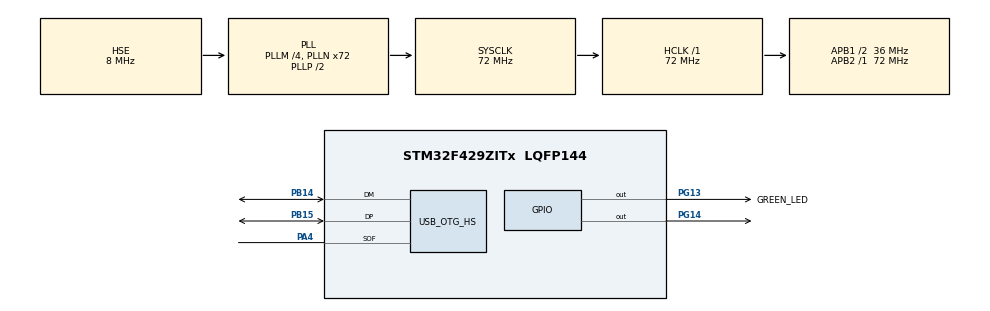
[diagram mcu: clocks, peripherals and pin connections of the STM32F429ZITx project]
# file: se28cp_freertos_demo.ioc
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FREERTOS.Tasks01=defaultTask,24,128,StartDefaultTask,Default,NULL,Dynamic,NULL,NULL
FREERTOS.configENABLE_FPU=1
FREERTOS.configMAX_TASK_NAME_LEN=32
FREERTOS.configTOTAL_HEAP_SIZE=32768
FREERTOS.configUSE_NEWLIB_REENTRANT=1
Mcu.Family=STM32F4
Mcu.Name=STM32F429ZITx
Mcu.Package=LQFP144
NVIC.OTG_HS_IRQn=true\:5\:0\:false\:false\:true\:true\:false\:true\:true
NVIC.PriorityGroup=NVIC_PRIORITYGROUP_4
PA13.Mode=Serial_Wire
PA13.Signal=SYS_JTMS-SWDIO
PA14.Mode=Serial_Wire
PA14.Signal=SYS_JTCK-SWCLK
PA4.Mode=Activate_SOF_FS
PA4.Signal=USB_OTG_HS_SOF
PB14.Mode=Device_Only_FS
PB14.Signal=USB_OTG_HS_DM
PB15.Mode=Device_Only_FS
PB15.Signal=USB_OTG_HS_DP
PG13.GPIO_Label=GREEN_LED
PG13.Signal=GPIO_Output
PG14.Signal=GPIO_Output
PH0/OSC_IN.Mode=HSE-External-Oscillator
PH0/OSC_IN.Signal=RCC_OSC_IN
PH1/OSC_OUT.Mode=HSE-External-Oscillator
PH1/OSC_OUT.Signal=RCC_OSC_OUT
ProjectManager.HeapSize=0x200
ProjectManager.StackSize=0x400
ProjectManager.TargetToolchain=STM32CubeIDE
RCC.48MHZClocksFreq_Value=48000000
RCC.AHBFreq_Value=72000000
RCC.APB1CLKDivider=RCC_HCLK_DIV2
RCC.APB1Freq_Value=36000000
RCC.APB1TimFreq_Value=72000000
RCC.APB2Freq_Value=72000000
RCC.APB2TimFreq_Value=72000000
RCC.CortexFreq_Value=72000000
RCC.HCLKFreq_Value=72000000
RCC.HSE_VALUE=8000000
RCC.HSI_VALUE=16000000
RCC.LSE_VALUE=32768
RCC.PLLM=4
RCC.PLLN=72
RCC.PLLQ=3
RCC.SYSCLKFreq_VALUE=72000000
RCC.SYSCLKSource=RCC_SYSCLKSOURCE_PLLCLK
RCC.VCOOutputFreq_Value=144000000
USB_DEVICE.CLASS_NAME_HS=CDC
USB_DEVICE.VirtualMode-CDC_HS=Cdc
USB_DEVICE.VirtualModeHS=Cdc_HS
USB_OTG_HS.VirtualMode-Device_Only_FS=Device_Only_FS
VP_FREERTOS_VS_CMSIS_V2.Mode=CMSIS_V2
VP_USB_DEVICE_VS_USB_DEVICE_CDC_HS.Mode=CDC_HS
board=custom

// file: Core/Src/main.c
/* USER CODE BEGIN Header */
/**
  ******************************************************************************
  * @file           : main.c
  * @brief          : Main program body
  ******************************************************************************
  * @attention
  *
  * Copyright (c) 2022 STMicroelectronics.
  * All rights reserved.
  *
  * This software is licensed under terms that can be found in the LICENSE file
  * in the root directory of this software component.
  * If no LICENSE file comes with this software, it is provided AS-IS.
  *
  ******************************************************************************
  */
/* USER CODE END Header */
#include "main.h"
#include "cmsis_os.h"
#include "usb_device.h"

/* USER CODE BEGIN Includes */
#include "FreeRTOS.h"
#include "FreeRTOS_CLI.h"
#include "usbd_cdc_if.h"
/* USER CODE END Includes */

/* USER CODE BEGIN PD */
#define MAX_INPUT_LENGTH    50
#define MAX_OUTPUT_LENGTH   100
/* USER CODE END PD */

/* Definitions for defaultTask */
osThreadId_t defaultTaskHandle;
const osThreadAttr_t defaultTask_attributes = {
  .name = "defaultTask",
  .stack_size = 128 * 4,
  .priority = (osPriority_t) osPriorityNormal,
};

void SystemClock_Config(void);
static void MX_GPIO_Init(void);
void StartDefaultTask(void *argument);

/* USER CODE BEGIN 0 */
uint32_t is_usb_on(void);
typedef struct led_t_ {
	GPIO_TypeDef *port;
	uint16_t pin;
	int timeout;
}led_t;

led_t green_led;
led_t red_led;

void task_led(void *param){
	led_t *led = (led_t *)param;
	while(1){
		HAL_GPIO_TogglePin(led->port, led->pin);
		vTaskDelay(led->timeout);
	}
}

void task_usb(void *param){
	while(!is_usb_on()){
		vTaskDelay(100);
	}
	while(1){
		(void)CDC_Transmit_HS((uint8_t *)"Teste de USB 2\n\r", 16);
	}
}
size_t receive_usb_data(uint8_t *data, int size, TickType_t timeout);
void queue_print_usb(uint8_t *data, int size, TickType_t timeout);
/* USER CODE END 0 */

int main(void)
{

  /* MCU Configuration--------------------------------------------------------*/

  /* Reset of all peripherals, Initializes the Flash interface and the Systick. */
  HAL_Init();

  /* Configure the system clock */
  SystemClock_Config();

  /* Initialize all configured peripherals */
  MX_GPIO_Init();

  /* Init scheduler */
  osKernelInitialize();

  /* Create the thread(s) */
  /* creation of defaultTask */
  defaultTaskHandle = osThreadNew(StartDefaultTask, NULL, &defaultTask_attributes);

  /* Start scheduler */
  osKernelStart();

  /* We should never get here as control is now taken by the scheduler */
  /* Infinite loop */
  while (1)
  {

  }
}

void SystemClock_Config(void)
{
  RCC_OscInitTypeDef RCC_OscInitStruct = {0};
  RCC_ClkInitTypeDef RCC_ClkInitStruct = {0};

  /** Configure the main internal regulator output voltage
  */
  __HAL_RCC_PWR_CLK_ENABLE();
  __HAL_PWR_VOLTAGESCALING_CONFIG(PWR_REGULATOR_VOLTAGE_SCALE3);

  /** Initializes the RCC Oscillators according to the specified parameters
  * in the RCC_OscInitTypeDef structure.
  */
  RCC_OscInitStruct.OscillatorType = RCC_OSCILLATORTYPE_HSE;
  RCC_OscInitStruct.HSEState = RCC_HSE_ON;
  RCC_OscInitStruct.PLL.PLLState = RCC_PLL_ON;
  RCC_OscInitStruct.PLL.PLLSource = RCC_PLLSOURCE_HSE;
  RCC_OscInitStruct.PLL.PLLM = 4;
  RCC_OscInitStruct.PLL.PLLN = 72;
  RCC_OscInitStruct.PLL.PLLP = RCC_PLLP_DIV2;
  RCC_OscInitStruct.PLL.PLLQ = 3;
  if (HAL_RCC_OscConfig(&RCC_OscInitStruct) != HAL_OK)
  {
    Error_Handler();
  }

  /** Initializes the CPU, AHB and APB buses clocks
  */
  RCC_ClkInitStruct.ClockType = RCC_CLOCKTYPE_HCLK|RCC_CLOCKTYPE_SYSCLK
                              |RCC_CLOCKTYPE_PCLK1|RCC_CLOCKTYPE_PCLK2;
  RCC_ClkInitStruct.SYSCLKSource = RCC_SYSCLKSOURCE_PLLCLK;
  RCC_ClkInitStruct.AHBCLKDivider = RCC_SYSCLK_DIV1;
  RCC_ClkInitStruct.APB1CLKDivider = RCC_HCLK_DIV2;
  RCC_ClkInitStruct.APB2CLKDivider = RCC_HCLK_DIV1;

  if (HAL_RCC_ClockConfig(&RCC_ClkInitStruct, FLASH_LATENCY_2) != HAL_OK)
  {
    Error_Handler();
  }
}

static void MX_GPIO_Init(void)
{
  GPIO_InitTypeDef GPIO_InitStruct = {0};

  /* GPIO Ports Clock Enable */
  __HAL_RCC_GPIOH_CLK_ENABLE();
  __HAL_RCC_GPIOA_CLK_ENABLE();
  __HAL_RCC_GPIOB_CLK_ENABLE();
  __HAL_RCC_GPIOG_CLK_ENABLE();

  /*Configure GPIO pin Output Level */
  HAL_GPIO_WritePin(GPIOG, GREEN_LED_Pin|GPIO_PIN_14, GPIO_PIN_RESET);

  /*Configure GPIO pins : GREEN_LED_Pin PG14 */
  GPIO_InitStruct.Pin = GREEN_LED_Pin|GPIO_PIN_14;
  GPIO_InitStruct.Mode = GPIO_MODE_OUTPUT_PP;
  GPIO_InitStruct.Pull = GPIO_NOPULL;
  GPIO_InitStruct.Speed = GPIO_SPEED_FREQ_LOW;
  HAL_GPIO_Init(GPIOG, &GPIO_InitStruct);

}

/* USER CODE BEGIN 4 */
void init_usb_rtos_obj(void);
uint8_t buffer[128];
uint32_t len = 0;
static BaseType_t prvTaskStatsCommand(char *pcWriteBuffer, size_t xWriteBufferLen, const char *pcCommandString)
{
  (void)xWriteBufferLen;
  vTaskList("Tasks");
  return pdFALSE;
}

static BaseType_t prvTaskStatsTexto(char *pcWriteBuffer, size_t xWriteBufferLen, const char *pcCommandString)
{
  strcpy(pcWriteBuffer, (char *)"Isto é apenas um teste, testando 1 2 3...\r\n");
  return pdFALSE;
}

static const CLI_Command_Definition_t xTasksCommand =
    {
        "tasks",
        "\r\ntasks:\r\n Lists all the installed tasks\r\n\r\n",
        prvTaskStatsCommand,
        0};

static const CLI_Command_Definition_t xTasksTexto =
    {
        "texto",
        "\r\ntexto:\r\n Quer testar o texte?\r\n\r\n",
        prvTaskStatsTexto,
        0};

/* USER CODE END 4 */

void StartDefaultTask(void *argument){
  /* init code for USB_DEVICE */
  MX_USB_DEVICE_Init();
  /* USER CODE BEGIN 5 */
  init_usb_rtos_obj();
  uint8_t data[128];
  FreeRTOS_CLIRegisterCommand( &xTasksCommand );
  FreeRTOS_CLIRegisterCommand( &xTasksTexto );
  BaseType_t xMoreDataToFollow;
  static uint8_t pcOutputString[ MAX_OUTPUT_LENGTH ], pcInputString[ MAX_INPUT_LENGTH ];
  int8_t cInputIndex = 0;
  /* Infinite loop */
  for(;;){
	  receive_usb_data(data, 128, portMAX_DELAY);
	  	        //FreeRTOS_read( xConsole, &data, sizeof( data ) );

	  if( data[0] == '\r'){
		  (void)queue_print_usb("\r\n", strlen( "\r\n" ),portMAX_DELAY);
		  do{
			  xMoreDataToFollow = FreeRTOS_CLIProcessCommand(pcInputString,pcOutputString,MAX_OUTPUT_LENGTH);
			  (void)queue_print_usb(pcOutputString, (int)strlen( pcOutputString ),portMAX_DELAY);
		  } while( xMoreDataToFollow != pdFALSE );
	  	            cInputIndex = 0;
	  	            memset( pcInputString, 0x00, MAX_INPUT_LENGTH );
	  }
	  else{
		  if( data == '\n' ){
	  	                /* Ignore carriage returns. */
			  }
		  else if( data == '\b' ){
			  if( cInputIndex > 0 ){
				  cInputIndex--;
				  pcInputString[ cInputIndex ] = '\0';
			  }
		  }
		  else{
			  if( cInputIndex < MAX_INPUT_LENGTH ){
				  pcInputString[ cInputIndex ] = data[0];
				  cInputIndex++;
				  (void)queue_print_usb(&data, 1,portMAX_DELAY);
			  }
		  }
	  }
  }
  /* USER CODE END 5 */
}

void Error_Handler(void)
{
  __disable_irq();
  while (1)
  {
  }
}
